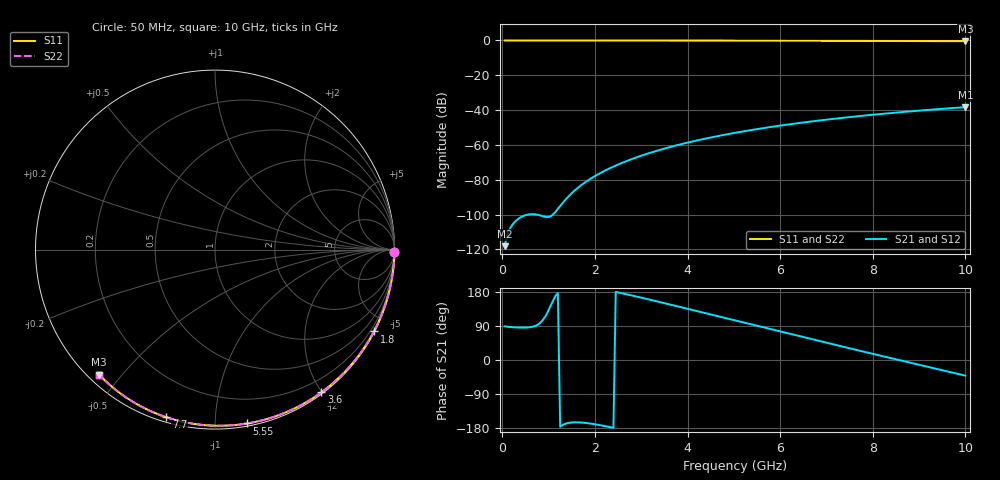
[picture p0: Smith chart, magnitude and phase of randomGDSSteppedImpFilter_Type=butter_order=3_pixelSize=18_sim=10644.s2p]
! freq	dB(S11)	phase(S11)	dB(S12)	phase(S12)
!  dB(S21)	phase(S21)	dB(S22)	phase(S22)
!S-par simulation data
#  GHz  S  DB  R 50
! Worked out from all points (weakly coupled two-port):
!   200 points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, 50 MHz to 10 GHz, reference 50 ohm
!   highest |S21| = -38.29 dB at 10 GHz (marker M1); lowest = -118.1 dB at 50 MHz (marker M2)
!   lowest |S11| = -0.4 dB at 10 GHz (marker M3), VSWR 38.79, Z = 1.53 - j21.8 ohm
!   |S11| at or under -10 dB: nowhere
!   |S22| runs from -0.4 to 0.0 dB; largest |S21 - S12| = 0
!   S11 on the Smith chart (normalised r, x): 50 MHz: open; 1.8 GHz: 0.04, -4.13; 3.6 GHz: 0.02, -1.99; 5.55 GHz: 0.02, -1.20; 7.7 GHz: 0.02, -0.75; 10 GHz: 0.03, -0.44
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0.05  -0.00 -0.8  -118.09 88.8  -118.09 88.8  -0.00 -0.8
0.9  -0.02 -13.8  -101.12 109.8  -101.12 109.8  -0.02 -13.8
1.75  -0.03 -26.5  -82.17 -165.4  -82.17 -165.4  -0.03 -26.5
1.8  -0.03 -27.2  -81.23 -166.1  -81.23 -166.1  -0.03 -27.2
1.85  -0.04 -28.0  -80.33 -166.8  -80.33 -166.8  -0.04 -28.0
1.9  -0.04 -28.7  -79.47 -167.7  -79.47 -167.7  -0.04 -28.7
2.05  -0.04 -30.9  -77.09 -170.6  -77.09 -170.6  -0.04 -30.9
2.25  -0.04 -33.9  -74.28 -175.2  -74.28 -175.2  -0.04 -33.9
2.45  -0.05 -36.8  -71.79 179.7  -71.79 179.7  -0.05 -36.8
2.65  -0.05 -39.7  -69.57 174.4  -69.57 174.4  -0.05 -39.7
3  -0.06 -44.8  -66.16 164.6  -66.16 164.6  -0.06 -44.8
3.4  -0.07 -50.5  -62.82 152.9  -62.82 152.9  -0.07 -50.5
3.6  -0.07 -53.3  -61.33 147.0  -61.33 147.0  -0.07 -53.3
4.3  -0.09 -62.9  -56.82 126.1  -56.82 126.1  -0.09 -62.9
5.05  -0.11 -73.0  -52.91 103.6  -52.91 103.6  -0.11 -73.0
5.55  -0.13 -79.5  -50.68 88.6  -50.68 88.6  -0.13 -79.5
6.1  -0.15 -86.6  -48.51 72.1  -48.51 72.1  -0.15 -86.6
6.7  -0.18 -94.1  -46.42 54.3  -46.42 54.3  -0.18 -94.1
7.7  -0.24 -106.2  -43.44 25.0  -43.44 25.0  -0.24 -106.2
8.35  -0.29 -113.8  -41.77 6.1  -41.77 6.1  -0.29 -113.8
9.15  -0.36 -123.1  -39.96 -16.9  -39.96 -16.9  -0.36 -123.1
10  -0.45 -132.8  -38.29 -41.3  -38.29 -41.3  -0.45 -132.8
